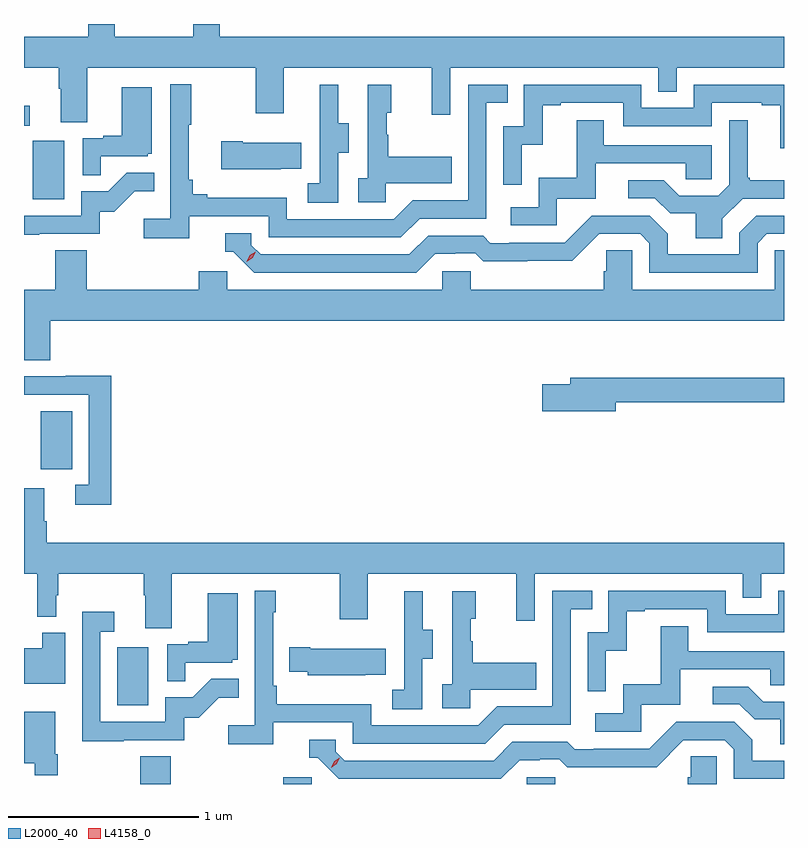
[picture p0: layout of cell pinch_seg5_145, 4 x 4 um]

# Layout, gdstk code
import gdstk
lib = gdstk.Library(unit=1e-6, precision=1e-09)
def R(c, l, rs):  # rectangles x0, y0, x1, y1
    for r in rs: c.add(gdstk.rectangle(r[:2], r[2:], *l))
def P(c, l, *ps):  # polygons
    for p in ps: c.add(gdstk.Polygon(p, *l))
L2000_40 = (2000, 40)
L4158_0 = (4158, 0)

pinch_seg5_145 = lib.new_cell('pinch_seg5_145')
R(pinch_seg5_145, L2000_40, [(1079.416,871.638,1079.576,871.784), (1080.167,871.638,1080.318,871.674), (1081.449,871.638,1081.599,871.674), (1079.294,872.052,1079.458,872.359), (1078.892,873.294,1079.056,873.601), (1078.85,874.716,1079.014,875.023), (1078.803,875.103,1078.834,875.209)])
P(pinch_seg5_145, L2000_40, [(1079.137,875.408),(1080.022,875.408),(1080.022,875.169),(1080.169,875.169),(1080.169,875.408),(1080.95,875.408),(1080.95,875.16),(1081.047,875.16),(1081.047,875.408),(1082.142,875.408),(1082.142,875.281),(1082.238,875.281),(1082.238,875.408),(1082.803,875.408),(1082.803,875.572),(1079.833,875.572),(1079.833,875.638),(1079.693,875.638),(1079.693,875.572),(1079.281,875.572),(1079.281,875.638),(1079.141,875.638),(1079.141,875.572),(1078.803,875.572),(1078.803,875.408),(1078.985,875.408),(1078.985,875.296),(1078.997,875.296),(1078.997,875.122),(1079.137,875.122)],
  [(1079.672,874.626),(1080.09,874.626),(1080.09,874.515),(1080.787,874.515),(1080.886,874.614),(1081.236,874.614),(1081.236,875.223),(1081.349,875.223),(1081.349,875.319),(1081.14,875.319),(1081.14,874.71),(1080.849,874.71),(1080.75,874.611),(1080.186,874.611),(1080.186,874.723),(1079.767,874.723),(1079.767,874.742),(1079.69,874.742),(1079.69,874.819),(1079.671,874.819),(1079.671,875.107),(1079.683,875.107),(1079.683,875.32),(1079.574,875.32),(1079.574,874.612),(1079.433,874.612),(1079.433,874.51),(1079.672,874.51)],
  [(1081.422,875.003),(1081.532,875.003),(1081.532,875.211),(1081.627,875.211),(1081.627,875.223),(1081.956,875.223),(1081.956,875.1),(1082.424,875.1),(1082.424,875.223),(1082.687,875.223),(1082.687,875.211),(1082.783,875.211),(1082.783,874.985),(1082.803,874.985),(1082.803,875.319),(1082.328,875.319),(1082.328,875.196),(1082.052,875.196),(1082.052,875.319),(1081.434,875.319),(1081.434,875.1),(1081.326,875.1),(1081.326,874.791),(1081.422,874.791)],
  [(1080.708,874.799),(1081.055,874.799),(1081.055,874.939),(1080.721,874.939),(1080.721,875.054),(1080.711,875.054),(1080.711,875.172),(1080.736,875.172),(1080.736,875.317),(1080.612,875.317),(1080.612,874.826),(1080.561,874.826),(1080.561,874.701),(1080.708,874.701)],
  [(1080.456,874.96),(1080.511,874.96),(1080.511,875.115),(1080.457,875.115),(1080.457,875.317),(1080.359,875.317),(1080.359,875.103),(1080.36,875.103),(1080.36,874.799),(1080.297,874.799),(1080.297,874.696),(1080.456,874.696)],
  [(1079.207,874.941),(1079.454,874.941),(1079.454,874.956),(1079.476,874.956),(1079.476,875.305),(1079.318,875.305),(1079.318,875.05),(1079.219,875.05),(1079.219,875.037),(1079.112,875.037),(1079.112,874.843),(1079.207,874.843)],
  [(1081.608,874.719),(1081.813,874.719),(1081.813,874.905),(1082.287,874.905),(1082.287,874.821),(1082.424,874.821),(1082.424,875.001),(1081.855,875.001),(1081.855,875.131),(1081.711,875.131),(1081.711,874.828),(1081.512,874.828),(1081.512,874.674),(1081.365,874.674),(1081.365,874.578),(1081.608,874.578)],
  [(1082.479,874.612),(1082.586,874.719),(1082.803,874.719),(1082.803,874.816),(1082.623,874.816),(1082.623,874.828),(1082.611,874.828),(1082.611,875.131),(1082.514,875.131),(1082.514,874.791),(1082.457,874.734),(1082.251,874.734),(1082.17,874.815),(1081.983,874.815),(1081.983,874.722),(1082.124,874.722),(1082.204,874.642),(1082.339,874.642),(1082.339,874.51),(1082.479,874.51)],
  [(1080.155,874.877),(1080.263,874.877),(1080.263,875.014),(1079.953,875.014),(1079.953,875.022),(1079.841,875.022),(1079.841,874.874),(1080.155,874.874)],
  [(1078.883,874.533),(1079.202,874.533),(1079.202,874.65),(1079.278,874.65),(1079.385,874.757),(1079.489,874.757),(1079.489,874.856),(1079.345,874.856),(1079.247,874.758),(1079.103,874.758),(1079.103,874.629),(1078.803,874.629),(1078.803,874.528),(1078.883,874.528)],
  [(1080.967,874.428),(1081.074,874.428),(1081.074,874.431),(1081.177,874.431),(1081.219,874.389),(1081.452,874.389),(1081.452,874.391),(1081.688,874.391),(1081.83,874.533),(1082.046,874.533),(1082.094,874.485),(1082.094,874.329),(1082.664,874.329),(1082.664,874.485),(1082.712,874.533),(1082.803,874.533),(1082.803,874.629),(1082.658,874.629),(1082.568,874.539),(1082.568,874.425),(1082.191,874.425),(1082.191,874.535),(1082.097,874.629),(1081.791,874.629),(1081.65,874.488),(1081.357,874.488),(1081.357,874.485),(1081.258,874.485),(1081.219,874.524),(1080.93,874.524),(1080.831,874.425),(1080.048,874.425),(1080,874.473),(1080,874.536),(1079.861,874.536),(1079.861,874.44),(1079.904,874.44),(1080.015,874.329),(1080.868,874.329)],
  [(1078.94,874.076),(1082.803,874.076),(1082.803,874.448),(1082.754,874.448),(1082.754,874.24),(1082.004,874.24),(1082.004,874.448),(1081.867,874.448),(1081.867,874.338),(1081.853,874.338),(1081.853,874.24),(1081.155,874.24),(1081.155,874.338),(1081.005,874.338),(1081.005,874.24),(1079.874,874.24),(1079.874,874.338),(1079.723,874.338),(1079.723,874.24),(1079.132,874.24),(1079.132,874.448),(1078.967,874.448),(1078.967,874.24),(1078.803,874.24),(1078.803,873.868),(1078.94,873.868)],
  [(1079.261,873.788),(1079.023,873.788),(1079.023,873.783),(1078.803,873.783),(1078.803,873.687),(1079.145,873.687),(1079.145,873.213),(1079.073,873.213),(1079.073,873.108),(1079.261,873.108)],
  [(1081.918,873.646),(1082.803,873.646),(1082.803,873.775),(1081.679,873.775),(1081.679,873.741),(1081.53,873.741),(1081.53,873.599),(1081.918,873.599)],
  [(1079.581,872.744),(1080.466,872.744),(1080.466,872.505),(1080.613,872.505),(1080.613,872.744),(1081.394,872.744),(1081.394,872.496),(1081.491,872.496),(1081.491,872.744),(1082.586,872.744),(1082.586,872.617),(1082.682,872.617),(1082.682,872.744),(1082.803,872.744),(1082.803,872.908),(1078.922,872.908),(1078.922,873.02),(1078.909,873.02),(1078.909,873.194),(1078.803,873.194),(1078.803,872.744),(1078.874,872.744),(1078.874,872.519),(1078.972,872.519),(1078.972,872.632),(1078.984,872.632),(1078.984,872.744),(1079.434,872.744),(1079.434,872.632),(1079.441,872.632),(1079.441,872.458),(1079.581,872.458)],
  [(1080.116,871.962),(1080.534,871.962),(1080.534,871.851),(1081.231,871.851),(1081.33,871.95),(1081.68,871.95),(1081.68,872.559),(1081.793,872.559),(1081.793,872.655),(1081.584,872.655),(1081.584,872.046),(1081.293,872.046),(1081.194,871.947),(1080.63,871.947),(1080.63,872.059),(1080.134,872.059),(1080.134,872.155),(1080.114,872.155),(1080.114,872.543),(1080.127,872.543),(1080.127,872.656),(1080.018,872.656),(1080.018,871.948),(1079.877,871.948),(1079.877,871.846),(1080.116,871.846)],
  [(1081.866,872.339),(1081.976,872.339),(1081.976,872.547),(1082.071,872.547),(1082.071,872.559),(1082.4,872.559),(1082.4,872.436),(1082.803,872.436),(1082.803,872.655),(1082.772,872.655),(1082.772,872.532),(1082.496,872.532),(1082.496,872.655),(1081.878,872.655),(1081.878,872.436),(1081.77,872.436),(1081.77,872.127),(1081.866,872.127)],
  [(1080.9,872.296),(1080.955,872.296),(1080.955,872.451),(1080.901,872.451),(1080.901,872.653),(1080.803,872.653),(1080.803,872.439),(1080.804,872.439),(1080.804,872.135),(1080.741,872.135),(1080.741,872.032),(1080.9,872.032)],
  [(1081.152,872.135),(1081.499,872.135),(1081.499,872.275),(1081.165,872.275),(1081.165,872.39),(1081.155,872.39),(1081.155,872.508),(1081.18,872.508),(1081.18,872.653),(1081.056,872.653),(1081.056,872.162),(1081.005,872.162),(1081.005,872.037),(1081.152,872.037)],
  [(1079.651,872.277),(1079.898,872.277),(1079.898,872.292),(1079.929,872.292),(1079.929,872.641),(1079.771,872.641),(1079.771,872.386),(1079.667,872.386),(1079.667,872.373),(1079.556,872.373),(1079.556,872.179),(1079.651,872.179)],
  [(1079.327,871.869),(1079.646,871.869),(1079.646,871.986),(1079.722,871.986),(1079.829,872.093),(1079.933,872.093),(1079.933,872.192),(1079.789,872.192),(1079.691,872.094),(1079.547,872.094),(1079.547,871.965),(1079.205,871.965),(1079.205,872.439),(1079.278,872.439),(1079.278,872.545),(1079.109,872.545),(1079.109,871.864),(1079.327,871.864)],
  [(1082.052,872.055),(1082.257,872.055),(1082.257,872.241),(1082.731,872.241),(1082.731,872.157),(1082.803,872.157),(1082.803,872.337),(1082.299,872.337),(1082.299,872.467),(1082.155,872.467),(1082.155,872.164),(1081.956,872.164),(1081.956,872.01),(1081.809,872.01),(1081.809,871.914),(1082.052,871.914)],
  [(1079.02,872.434),(1078.898,872.434),(1078.898,872.353),(1078.803,872.353),(1078.803,872.165),(1079.02,872.165)],
  [(1080.599,872.213),(1080.707,872.213),(1080.707,872.35),(1080.31,872.35),(1080.31,872.358),(1080.199,872.358),(1080.199,872.228),(1080.297,872.228),(1080.297,872.21),(1080.599,872.21)],
  [(1082.803,872.07),(1082.695,872.07),(1082.614,872.151),(1082.427,872.151),(1082.427,872.058),(1082.568,872.058),(1082.648,871.978),(1082.783,871.978),(1082.783,871.846),(1082.803,871.846)],
  [(1078.981,871.795),(1078.968,871.795),(1078.968,872.017),(1078.803,872.017),(1078.803,871.748),(1078.86,871.748),(1078.86,871.683),(1078.981,871.683)],
  [(1081.411,871.764),(1081.518,871.764),(1081.518,871.767),(1081.621,871.767),(1081.663,871.725),(1081.896,871.725),(1081.896,871.727),(1082.132,871.727),(1082.274,871.869),(1082.49,871.869),(1082.538,871.821),(1082.538,871.665),(1082.803,871.665),(1082.803,871.761),(1082.635,871.761),(1082.635,871.871),(1082.541,871.965),(1082.235,871.965),(1082.094,871.824),(1081.801,871.824),(1081.801,871.821),(1081.702,871.821),(1081.663,871.86),(1081.374,871.86),(1081.275,871.761),(1080.492,871.761),(1080.444,871.809),(1080.444,871.872),(1080.305,871.872),(1080.305,871.776),(1080.348,871.776),(1080.459,871.665),(1081.312,871.665)],
  [(1082.448,871.784),(1082.311,871.784),(1082.311,871.674),(1082.297,871.674),(1082.297,871.638),(1082.448,871.638)])
P(pinch_seg5_145, L4158_0, [(1079.976,874.388),(1079.976,874.388),(1079.992,874.421),(1080.022,874.44),(1080.022,874.44),(1080.022,874.44),(1080.007,874.407),(1079.976,874.388)],
  [(1080.419,871.724),(1080.419,871.725),(1080.435,871.757),(1080.466,871.777),(1080.466,871.777),(1080.466,871.776),(1080.45,871.744),(1080.419,871.724)])

lib.write_gds('pinch_seg5_145.gds')
